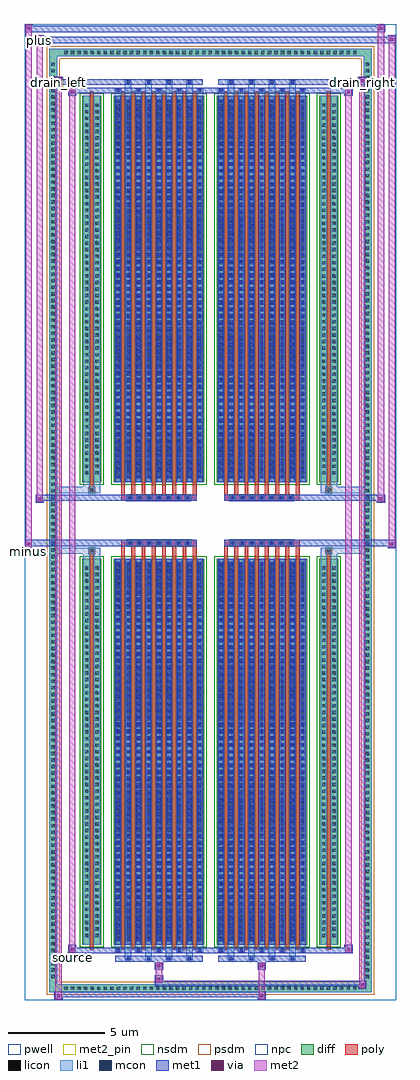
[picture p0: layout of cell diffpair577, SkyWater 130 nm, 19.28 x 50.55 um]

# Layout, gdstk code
import gdstk
lib = gdstk.Library(unit=1e-6, precision=5e-09)
def R(c, l, rs):  # rectangles x0, y0, x1, y1
    for r in rs: c.add(gdstk.rectangle(r[:2], r[2:], *l))
def A(c, l, x, y, w, h, nx, ny, dx, dy):  # array of equal rectangles
    R(c, l, [(x+i*dx, y+j*dy, x+i*dx+w, y+j*dy+h) for i in range(nx) for j in range(ny)])
def P(c, l, *ps):  # polygons
    for p in ps: c.add(gdstk.Polygon(p, *l))
pwell = (64, 44)
diff = (65, 20)
poly = (66, 20)
licon = (66, 44)
li1 = (67, 20)
mcon = (67, 44)
met1 = (68, 20)
via = (68, 44)
met2_pin = (69, 16)
met2 = (69, 20)
nsdm = (93, 44)
psdm = (94, 20)
npc = (95, 20)

diffpair577 = lib.new_cell('diffpair577')
R(diffpair577, pwell, [(-9.62,-24.84,9.62,25.71), (-6.94,-23.03,-0.01,-0.805), (0.01,-23.03,6.94,-0.805), (-6.94,0.805,-0.01,23.03), (0.01,0.805,6.94,23.03)])
A(diffpair577, diff, -7.685, -24.44, 0.41, 0.41, 45, 2, 0.34, 48.47)
A(diffpair577, diff, -8.35, -23.835, 0.41, 0.41, 1, 140, 0, 0.34)
A(diffpair577, diff, 7.94, -23.835, 0.41, 0.41, 1, 140, 0, 0.34)
R(diffpair577, diff, [(-7.685,-24.44,7.685,-24.03), (-8.35,-23.835,-7.94,23.835), (7.94,-23.835,8.35,23.835), (-6.63,-21.985,-5.65,-1.985), (-5.01,-21.985,-0.32,-1.985), (0.32,-21.985,5.01,-1.985), (5.65,-21.985,6.63,-1.985), (-6.63,1.985,-5.65,21.985), (-5.01,1.985,-0.32,21.985), (0.32,1.985,5.01,21.985), (5.65,1.985,6.63,21.985), (-7.685,24.03,7.685,24.44)])
P(diffpair577, diff, [(8.35,24.44),(-8.35,24.44),(-8.35,-24.03),(-7.94,-24.03),(-7.94,24.03),(7.94,24.03),(7.94,-24.03),(-7.94,-24.03),(-8.35,-24.03),(-8.35,-24.44),(8.35,-24.44)])
A(diffpair577, poly, -4.62, -22.235, 0.2, 20.5, 8, 2, 0.53, 23.97)
A(diffpair577, poly, 0.71, -22.235, 0.2, 20.5, 8, 2, 0.53, 23.97)
A(diffpair577, poly, -4.62, -1.735, 0.2, 0.4, 8, 2, 0.53, 3.07)
A(diffpair577, poly, 0.71, -1.735, 0.2, 0.4, 8, 2, 0.53, 3.07)
A(diffpair577, poly, -4.33, -1.335, 0.33, 0.33, 7, 2, 0.5, 2.34)
A(diffpair577, poly, 1, -1.335, 0.33, 0.33, 7, 2, 0.5, 2.34)
R(diffpair577, poly, [(-6.24,-22.235,-6.04,-1.735), (6.04,-22.235,6.24,-1.735), (-6.305,-1.735,-5.975,-1.405), (-6.305,-1.735,-5.975,-1.405), (5.975,-1.735,6.305,-1.405), (5.975,-1.735,6.305,-1.405), (-4.62,-1.335,-0.71,-1.005), (0.71,-1.335,4.62,-1.005), (-4.62,1.005,-0.71,1.335), (0.71,1.005,4.62,1.335), (-6.305,1.405,-5.975,1.735), (-6.305,1.405,-5.975,1.735), (5.975,1.405,6.305,1.735), (5.975,1.405,6.305,1.735), (-6.24,1.735,-6.04,22.235), (6.04,1.735,6.24,22.235)])
A(diffpair577, licon, -7.565, -24.32, 0.17, 0.17, 45, 2, 0.34, 48.47)
A(diffpair577, licon, -8.23, -23.715, 0.17, 0.17, 1, 140, 0, 0.34)
A(diffpair577, licon, 8.06, -23.715, 0.17, 0.17, 1, 140, 0, 0.34)
A(diffpair577, licon, -6.49, -21.59, 0.17, 0.17, 1, 57, 0, 0.34)
A(diffpair577, licon, -5.96, -21.59, 0.17, 0.17, 1, 57, 0, 0.34)
A(diffpair577, licon, -4.87, -21.59, 0.17, 0.17, 9, 57, 0.53, 0.34)
A(diffpair577, licon, 0.46, -21.59, 0.17, 0.17, 9, 57, 0.53, 0.34)
A(diffpair577, licon, 5.79, -21.59, 0.17, 0.17, 1, 57, 0, 0.34)
A(diffpair577, licon, 6.32, -21.59, 0.17, 0.17, 1, 57, 0, 0.34)
A(diffpair577, licon, -4.25, -1.255, 0.17, 0.17, 7, 2, 0.5, 2.34)
A(diffpair577, licon, 1.08, -1.255, 0.17, 0.17, 7, 2, 0.5, 2.34)
A(diffpair577, licon, -6.49, 2.38, 0.17, 0.17, 1, 57, 0, 0.34)
A(diffpair577, licon, -5.96, 2.38, 0.17, 0.17, 1, 57, 0, 0.34)
A(diffpair577, licon, -4.87, 2.38, 0.17, 0.17, 9, 57, 0.53, 0.34)
A(diffpair577, licon, 0.46, 2.38, 0.17, 0.17, 9, 57, 0.53, 0.34)
A(diffpair577, licon, 5.79, 2.38, 0.17, 0.17, 1, 57, 0, 0.34)
A(diffpair577, licon, 6.32, 2.38, 0.17, 0.17, 1, 57, 0, 0.34)
R(diffpair577, licon, [(-6.225,-1.655,-6.055,-1.485), (6.055,-1.655,6.225,-1.485), (-6.225,1.485,-6.055,1.655), (6.055,1.485,6.225,1.655)])
A(diffpair577, li1, -7.645, -24.4, 0.33, 0.33, 45, 2, 0.34, 48.47)
A(diffpair577, li1, -8.31, -23.795, 0.33, 0.33, 1, 140, 0, 0.34)
A(diffpair577, li1, 7.98, -23.795, 0.33, 0.33, 1, 140, 0, 0.34)
A(diffpair577, li1, -4.42, -22.79, 0.33, 0.805, 4, 2, 1.06, 44.775)
A(diffpair577, li1, -4.34, -22.79, 0.17, 0.17, 4, 2, 1.06, 45.41)
A(diffpair577, li1, 0.91, -22.79, 0.33, 0.805, 4, 2, 1.06, 44.775)
A(diffpair577, li1, 0.99, -22.79, 0.17, 0.17, 4, 2, 1.06, 45.41)
A(diffpair577, li1, -4.95, -22.36, 0.33, 0.375, 5, 2, 1.06, 44.345)
A(diffpair577, li1, -4.87, -22.36, 0.17, 0.17, 5, 2, 1.06, 44.55)
A(diffpair577, li1, 0.38, -22.36, 0.33, 0.375, 5, 2, 1.06, 44.345)
A(diffpair577, li1, 0.46, -22.36, 0.17, 0.17, 5, 2, 1.06, 44.55)
A(diffpair577, li1, -4.95, -21.985, 0.33, 20, 9, 2, 0.53, 23.97)
A(diffpair577, li1, 0.38, -21.985, 0.33, 20, 9, 2, 0.53, 23.97)
A(diffpair577, li1, -4.87, -21.79, 0.17, 0.17, 9, 55, 0.53, 0.36)
A(diffpair577, li1, -4.87, -21.79, 0.17, 19.61, 9, 2, 0.53, 23.97)
A(diffpair577, li1, 0.46, -21.79, 0.17, 0.17, 9, 55, 0.53, 0.36)
A(diffpair577, li1, 0.46, -21.79, 0.17, 19.61, 9, 2, 0.53, 23.97)
A(diffpair577, li1, -6.57, -21.67, 0.33, 0.33, 1, 57, 0, 0.34)
A(diffpair577, li1, -6.04, -21.67, 0.33, 0.33, 1, 57, 0, 0.34)
A(diffpair577, li1, -4.95, -21.67, 0.33, 0.33, 9, 57, 0.53, 0.34)
A(diffpair577, li1, 0.38, -21.67, 0.33, 0.33, 9, 57, 0.53, 0.34)
A(diffpair577, li1, 5.71, -21.67, 0.33, 0.33, 1, 57, 0, 0.34)
A(diffpair577, li1, 6.24, -21.67, 0.33, 0.33, 1, 57, 0, 0.34)
A(diffpair577, li1, -4.33, -1.335, 0.33, 0.33, 7, 2, 0.5, 2.34)
A(diffpair577, li1, 1, -1.335, 0.33, 0.33, 7, 2, 0.5, 2.34)
A(diffpair577, li1, -4.87, 2.18, 0.17, 0.17, 9, 55, 0.53, 0.36)
A(diffpair577, li1, 0.46, 2.18, 0.17, 0.17, 9, 55, 0.53, 0.36)
A(diffpair577, li1, -6.57, 2.3, 0.33, 0.33, 1, 57, 0, 0.34)
A(diffpair577, li1, -6.04, 2.3, 0.33, 0.33, 1, 57, 0, 0.34)
A(diffpair577, li1, -4.95, 2.3, 0.33, 0.33, 9, 57, 0.53, 0.34)
A(diffpair577, li1, 0.38, 2.3, 0.33, 0.33, 9, 57, 0.53, 0.34)
A(diffpair577, li1, 5.71, 2.3, 0.33, 0.33, 1, 57, 0, 0.34)
A(diffpair577, li1, 6.24, 2.3, 0.33, 0.33, 1, 57, 0, 0.34)
R(diffpair577, li1, [(-8.35,-24.44,-7.94,-24.03), (-8.35,-24.44,-7.94,-24.03), (-7.94,-24.44,7.94,-24.03), (7.94,-24.44,8.35,-24.03), (7.94,-24.44,8.35,-24.03), (-8.35,-24.03,-7.94,24.03), (7.94,-24.03,8.35,24.03), (-6.57,-21.985,-6.24,-1.985), (-6.04,-21.985,-5.71,-1.985), (5.71,-21.985,6.04,-1.985), (6.24,-21.985,6.57,-1.985), (-6.57,-1.985,-6.24,-1.405), (-6.04,-1.985,-5.71,-1.405), (5.71,-1.985,6.04,-1.405), (6.24,-1.985,6.57,-1.405), (-8.35,-1.735,-6.305,-1.405), (-6.57,-1.735,-6.305,-1.405), (-6.305,-1.735,-5.975,-1.405), (-5.975,-1.735,-5.71,-1.405), (5.71,-1.735,5.975,-1.405), (5.975,-1.735,6.305,-1.405), (5.975,-1.735,8.35,-1.405), (6.305,-1.735,6.57,-1.405), (-8.35,1.405,-6.305,1.735), (-6.57,1.405,-6.305,1.735), (-6.57,1.405,-6.24,1.985), (-6.305,1.405,-5.975,1.735), (-6.04,1.405,-5.71,1.985), (-5.975,1.405,-5.71,1.735), (5.71,1.405,5.975,1.735), (5.71,1.405,6.04,1.985), (5.975,1.405,6.305,1.735), (5.975,1.405,8.35,1.735), (6.24,1.405,6.57,1.985), (6.305,1.405,6.57,1.735), (-6.57,1.985,-6.24,21.985), (-6.04,1.985,-5.71,21.985), (5.71,1.985,6.04,21.985), (6.24,1.985,6.57,21.985), (-8.35,24.03,-7.94,24.44), (-8.35,24.03,-7.94,24.44), (-7.94,24.03,7.94,24.44), (7.94,24.03,8.35,24.44), (7.94,24.03,8.35,24.44)])
A(diffpair577, mcon, -4.34, -22.79, 0.17, 0.17, 4, 2, 1.06, 45.41)
A(diffpair577, mcon, 0.99, -22.79, 0.17, 0.17, 4, 2, 1.06, 45.41)
A(diffpair577, mcon, -4.87, -22.36, 0.17, 0.17, 5, 2, 1.06, 44.55)
A(diffpair577, mcon, 0.46, -22.36, 0.17, 0.17, 5, 2, 1.06, 44.55)
A(diffpair577, mcon, -4.87, -21.79, 0.17, 0.17, 9, 55, 0.53, 0.36)
A(diffpair577, mcon, 0.46, -21.79, 0.17, 0.17, 9, 55, 0.53, 0.36)
A(diffpair577, mcon, -4.25, -1.255, 0.17, 0.17, 7, 2, 0.5, 2.34)
A(diffpair577, mcon, 1.08, -1.255, 0.17, 0.17, 7, 2, 0.5, 2.34)
A(diffpair577, mcon, -4.87, 2.18, 0.17, 0.17, 9, 55, 0.53, 0.36)
A(diffpair577, mcon, 0.46, 2.18, 0.17, 0.17, 9, 55, 0.53, 0.36)
A(diffpair577, met1, -4.4, -22.85, 0.29, 0.29, 4, 2, 1.06, 45.41)
A(diffpair577, met1, 0.93, -22.85, 0.29, 0.29, 4, 2, 1.06, 45.41)
A(diffpair577, met1, -4.93, -22.42, 0.29, 0.29, 5, 2, 1.06, 44.55)
A(diffpair577, met1, 0.4, -22.42, 0.29, 0.29, 5, 2, 1.06, 44.55)
A(diffpair577, met1, -4.93, -21.985, 0.29, 20, 9, 2, 0.53, 23.97)
A(diffpair577, met1, 0.4, -21.985, 0.29, 20, 9, 2, 0.53, 23.97)
A(diffpair577, met1, -4.93, -21.85, 0.29, 0.29, 9, 55, 0.53, 0.36)
A(diffpair577, met1, 0.4, -21.85, 0.29, 0.29, 9, 55, 0.53, 0.36)
A(diffpair577, met1, -4.31, -1.315, 0.29, 0.29, 7, 2, 0.5, 2.34)
A(diffpair577, met1, 1.02, -1.315, 0.29, 0.29, 7, 2, 0.5, 2.34)
A(diffpair577, met1, -4.93, 2.12, 0.29, 0.29, 9, 55, 0.53, 0.36)
A(diffpair577, met1, 0.4, 2.12, 0.29, 0.29, 9, 55, 0.53, 0.36)
R(diffpair577, met1, [(-8.08,-24.84,-7.65,-24.41), (2.45,-24.84,2.88,-24.41), (-8.08,-24.7,2.88,-24.41), (7.65,-24.27,8.08,-23.84), (-2.88,-24.13,8.08,-23.84), (-2.88,-23.99,-2.45,-23.56), (-2.88,-23.28,-2.45,-22.85), (2.45,-23.28,2.88,-22.85), (-4.93,-22.85,-0.4,-22.56), (0.4,-22.85,4.93,-22.56), (-7.37,-22.42,-6.94,-21.99), (-7.37,-22.42,-4.93,-22.13), (-4.93,-22.42,-0.4,-22.13), (-0.4,-22.42,0.4,-22.13), (0.4,-22.42,4.93,-22.13), (4.93,-22.42,7.37,-22.13), (6.94,-22.42,7.37,-21.99), (-9.62,-1.435,-9.19,-1.005), (9.19,-1.435,9.62,-1.005), (-9.62,-1.335,-0.71,-1.005), (-4.62,-1.335,-0.71,-1.005), (0.71,-1.335,4.62,-1.005), (0.71,-1.335,9.62,-1.005), (-9.05,0.905,-8.62,1.335), (8.62,0.905,9.05,1.335), (-9.05,1.005,-4.62,1.335), (-4.62,1.005,-0.71,1.335), (0.71,1.005,4.62,1.335), (4.62,1.005,9.05,1.335), (-7.37,21.99,-6.94,22.42), (6.94,21.99,7.37,22.42), (-7.37,22.13,-4.93,22.42), (-4.93,22.13,-0.4,22.42), (-0.4,22.13,0.4,22.42), (0.4,22.13,4.93,22.42), (4.93,22.13,7.37,22.42), (-8.08,22.56,-7.65,22.99), (-8.08,22.56,-4.93,22.85), (-4.93,22.56,-0.4,22.85), (0.4,22.56,4.93,22.85), (4.93,22.56,8.08,22.85), (7.65,22.56,8.08,22.99), (-9.05,24.71,-8.62,25.14), (-9.05,24.71,-6.94,25.04), (-6.94,24.71,6.94,25.04), (6.94,24.71,9.62,25.04), (9.19,24.71,9.62,25.14), (-9.62,25.28,-9.19,25.71), (-9.62,25.28,-6.94,25.61), (-6.94,25.28,6.94,25.61), (6.94,25.28,9.05,25.61), (8.62,25.28,9.05,25.71)])
R(diffpair577, via, [(-7.94,-24.7,-7.79,-24.55), (2.59,-24.7,2.74,-24.55), (7.79,-24.13,7.94,-23.98), (-2.74,-23.85,-2.59,-23.7), (-2.74,-23.14,-2.59,-22.99), (2.59,-23.14,2.74,-22.99), (-7.23,-22.28,-7.08,-22.13), (7.08,-22.28,7.23,-22.13), (-9.48,-1.295,-9.33,-1.145), (9.33,-1.295,9.48,-1.145), (-8.91,1.045,-8.76,1.195), (8.76,1.045,8.91,1.195), (-7.23,22.13,-7.08,22.28), (7.08,22.13,7.23,22.28), (-7.94,22.7,-7.79,22.85), (7.79,22.7,7.94,22.85), (-8.91,24.85,-8.76,25), (9.33,24.85,9.48,25), (-9.48,25.42,-9.33,25.57), (8.76,25.42,8.91,25.57)])
R(diffpair577, met2_pin, [(-7.405,-22.87,-6.905,-22.37), (-9.655,-1.885,-9.155,-1.385), (-8.115,22.44,-7.615,22.94), (7.615,22.44,8.115,22.94), (-9.085,24.59,-8.585,25.09)])
R(diffpair577, met2, [(-8.03,-24.79,-7.7,-24.46), (-8.03,-24.79,-7.7,22.94), (2.5,-24.79,2.83,-24.46), (2.5,-24.46,2.83,-23.23), (7.7,-24.22,8.03,-23.89), (7.7,-24.22,8.03,22.94), (-2.83,-23.94,-2.5,-23.61), (-2.83,-23.61,-2.5,-23.23), (-2.83,-23.23,-2.5,-22.9), (2.5,-23.23,2.83,-22.9), (-7.32,-22.37,-6.99,-22.04), (-7.32,-22.37,-6.99,22.37), (6.99,-22.37,7.32,-22.04), (6.99,-22.37,7.32,22.37), (-9.57,-1.385,-9.24,-1.055), (-9.57,-1.385,-9.24,25.66), (9.24,-1.385,9.57,-1.055), (9.24,-1.385,9.57,25.09), (-9,0.955,-8.67,1.285), (-9,0.955,-8.67,25.09), (8.67,0.955,9,1.285), (8.67,0.955,9,25.66), (-7.32,22.04,-6.99,22.37), (6.99,22.04,7.32,22.37), (-8.03,22.61,-7.7,22.94), (7.7,22.61,8.03,22.94), (-9,24.76,-8.67,25.09), (9.24,24.76,9.57,25.09), (-9.57,25.33,-9.24,25.66), (8.67,25.33,9,25.66)])
P(diffpair577, met2, [(9.57,-1.385),(9.57,-1.385),(9.57,-1.055),(9.57,-1.055)],
  [(9.57,24.76),(9.57,24.76),(9.57,25.09),(9.57,25.09)],
  [(-9.24,-1.385),(-9.24,-1.385),(-9.24,-1.055),(-9.24,-1.055)],
  [(-9.24,25.33),(-9.24,25.33),(-9.24,25.66),(-9.24,25.66)],
  [(9,0.955),(9,0.955),(9,1.285),(9,1.285)],
  [(9,25.33),(9,25.33),(9,25.66),(9,25.66)],
  [(-8.67,0.955),(-8.67,0.955),(-8.67,1.285),(-8.67,1.285)],
  [(-8.67,24.76),(-8.67,24.76),(-8.67,25.09),(-8.67,25.09)],
  [(-7.7,-24.79),(-7.7,-24.79),(-7.7,-24.46),(-7.7,-24.46)],
  [(-7.7,22.61),(-7.7,22.61),(-7.7,22.94),(-7.7,22.94)],
  [(8.03,-24.22),(8.03,-24.22),(8.03,-23.89),(8.03,-23.89)],
  [(8.03,22.61),(8.03,22.61),(8.03,22.94),(8.03,22.94)],
  [(-6.99,-22.37),(-6.99,-22.37),(-6.99,-22.04),(-6.99,-22.04)],
  [(-6.99,22.04),(-6.99,22.04),(-6.99,22.37),(-6.99,22.37)],
  [(7.32,-22.37),(7.32,-22.37),(7.32,-22.04),(7.32,-22.04)],
  [(7.32,22.04),(7.32,22.04),(7.32,22.37),(7.32,22.37)])
R(diffpair577, nsdm, [(-6.76,-22.115,-5.52,-1.855), (-5.14,-22.115,-0.19,-1.855), (0.19,-22.115,5.14,-1.855), (5.52,-22.115,6.76,-1.855), (-6.76,1.855,-5.52,22.115), (-5.14,1.855,-0.19,22.115), (0.19,1.855,5.14,22.115), (5.52,1.855,6.76,22.115)])
P(diffpair577, psdm, [(8.48,24.57),(-8.48,24.57),(-8.48,-23.9),(-7.81,-23.9),(-7.81,23.9),(7.81,23.9),(7.81,-23.9),(-7.81,-23.9),(-8.48,-23.9),(-8.48,-24.57),(8.48,-24.57)])
A(diffpair577, npc, -4.35, -1.355, 0.37, 0.37, 7, 2, 0.5, 2.34)
A(diffpair577, npc, 0.98, -1.355, 0.37, 0.37, 7, 2, 0.5, 2.34)
R(diffpair577, npc, [(-6.325,-1.755,-5.955,-1.385), (5.955,-1.755,6.325,-1.385), (-4.35,-1.355,-3.48,-0.985), (-4.35,-1.355,-3.48,-0.985), (-3.85,-1.355,-2.98,-0.985), (-3.85,-1.355,-2.98,-0.985), (-3.35,-1.355,-2.48,-0.985), (-3.35,-1.355,-2.48,-0.985), (-2.85,-1.355,-1.98,-0.985), (-2.85,-1.355,-1.98,-0.985), (-2.35,-1.355,-1.48,-0.985), (-2.35,-1.355,-1.48,-0.985), (-1.85,-1.355,-0.98,-0.985), (-1.85,-1.355,-0.98,-0.985), (0.98,-1.355,1.85,-0.985), (0.98,-1.355,1.85,-0.985), (1.48,-1.355,2.35,-0.985), (1.48,-1.355,2.35,-0.985), (1.98,-1.355,2.85,-0.985), (1.98,-1.355,2.85,-0.985), (2.48,-1.355,3.35,-0.985), (2.48,-1.355,3.35,-0.985), (2.98,-1.355,3.85,-0.985), (2.98,-1.355,3.85,-0.985), (3.48,-1.355,4.35,-0.985), (3.48,-1.355,4.35,-0.985), (-4.35,0.985,-3.48,1.355), (-4.35,0.985,-3.48,1.355), (-3.85,0.985,-2.98,1.355), (-3.85,0.985,-2.98,1.355), (-3.35,0.985,-2.48,1.355), (-3.35,0.985,-2.48,1.355), (-2.85,0.985,-1.98,1.355), (-2.85,0.985,-1.98,1.355), (-2.35,0.985,-1.48,1.355), (-2.35,0.985,-1.48,1.355), (-1.85,0.985,-0.98,1.355), (-1.85,0.985,-0.98,1.355), (0.98,0.985,1.85,1.355), (0.98,0.985,1.85,1.355), (1.48,0.985,2.35,1.355), (1.48,0.985,2.35,1.355), (1.98,0.985,2.85,1.355), (1.98,0.985,2.85,1.355), (2.48,0.985,3.35,1.355), (2.48,0.985,3.35,1.355), (2.98,0.985,3.85,1.355), (2.98,0.985,3.85,1.355), (3.48,0.985,4.35,1.355), (3.48,0.985,4.35,1.355), (-6.325,1.385,-5.955,1.755), (5.955,1.385,6.325,1.755)])
diffpair577.add(gdstk.Label('minus', (-9.405,-1.635), layer=69, texttype=5))
diffpair577.add(gdstk.Label('drain_right', (7.865,22.69), layer=69, texttype=5))
diffpair577.add(gdstk.Label('drain_left', (-7.865,22.69), layer=69, texttype=5))
diffpair577.add(gdstk.Label('source', (-7.155,-22.62), layer=69, texttype=5))
diffpair577.add(gdstk.Label('plus', (-8.835,24.84), layer=69, texttype=5))

lib.write_gds('diffpair577.gds')
